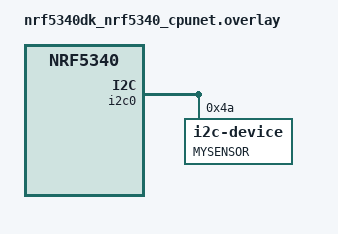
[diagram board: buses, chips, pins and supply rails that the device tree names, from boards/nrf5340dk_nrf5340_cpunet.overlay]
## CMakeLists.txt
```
# Copyright (c) 2021 Nordic Semiconductor ASA
#
# SPDX-License-Identifier: Apache-2.0
#

cmake_minimum_required(VERSION 3.20.0)

find_package(Zephyr REQUIRED HINTS $ENV{ZEPHYR_BASE})

if(CONFIG_BOARD_NRF5340DK_NRF5340_CPUNET OR
   CONFIG_BOARD_NRF5340BSIM_NRF5340_CPUNET)
  message(INFO " ${BOARD}${BOARD_QUALIFIERS} used for Network Core")
else()
  message(FATAL_ERROR "${BOARD}${BOARD_QUALIFIERS} is not supported for this sample")
endif()

project(sync_rtc_net)

target_sources(app PRIVATE src/main.c)
```

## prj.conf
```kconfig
CONFIG_LOG=y
CONFIG_NRF53_SYNC_RTC=y
CONFIG_MBOX=y

CONFIG_IPM=n
CONFIG_I2C=y

CONFIG_USE_SEGGER_RTT=y
CONFIG_LOG_BACKEND_RTT=y
```

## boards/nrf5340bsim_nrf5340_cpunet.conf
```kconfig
CONFIG_BUILD_OUTPUT_EXE=n
```

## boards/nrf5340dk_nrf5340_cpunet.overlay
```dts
&uart0 {
    status="disabled";
};

&i2c0 {
    compatible = "nordic,nrf-twim";
	status = "okay";
    mysensor: mysensor@4a{
        compatible = "i2c-device";
        reg = < 0x4a >;
        label = "MYSENSOR";
    };
};
```

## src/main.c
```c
/*
 * Copyright (c) 2021 Nordic Semiconductor ASA
 *
 * SPDX-License-Identifier: Apache-2.0
 */

#include <zephyr/kernel.h>
#include <zephyr/drivers/mbox.h>
#include <hal/nrf_ipc.h>
#include <zephyr/drivers/ipm.h>
#include <zephyr/sys/printk.h>
#include <zephyr/drivers/timer/nrf_rtc_timer.h>
#include <zephyr/logging/log.h>

#include <zephyr/drivers/i2c.h>

LOG_MODULE_REGISTER(net);

#if (CONFIG_SOC_SERIES_BSIM_NRFXX)
extern uint32_t shared_cell_buffer;
static uint32_t shared_cell = (uintptr_t)&shared_cell_buffer;
#else
static uint32_t shared_cell = 0x20070000;
static uint32_t other_cell = 0x20070001;
static uint32_t fromnet_cell = 0x20070002;
#endif

#define I2C0_NODE DT_NODELABEL(mysensor)

static void sync_callback(void)
{
	int32_t offset = z_nrf_rtc_timer_nrf53net_offset_get();

	__ASSERT(offset >= 0, "Synchronization should be completed");

	uint32_t timestamp = sys_clock_tick_get_32() + offset;
	uint32_t app_timestamp = *(volatile uint32_t *)shared_cell;

	LOG_INF("Local timestamp: %u, application core timestamp: %u",
			timestamp, app_timestamp);
}

static void mbox_callback(const struct device *dev, uint32_t channel,
						  void *user_data, struct mbox_msg *data)
{
	sync_callback();
}

static void other_mbox_callback(const struct device *dev, uint32_t channel,
								void *user_data, struct mbox_msg *data)
{
	LOG_INF("received data from appcore, size %d on channel %d", data->size, channel);
	LOG_INF("msg: %x", *(volatile uint32_t *)other_cell);
}

static int mbox_init(void)
{
	const struct device *dev;
	int err;

	dev = COND_CODE_1(CONFIG_MBOX, (DEVICE_DT_GET(DT_NODELABEL(mbox))), (NULL));
	if (dev == NULL)
	{
		return -ENODEV;
	}

	err = mbox_register_callback(dev, 2, mbox_callback, NULL);
	if (err < 0)
	{
		return err;
	}

	return mbox_set_enabled(dev, 2, true);
}

static int other_mbox_init(void)
{
	const struct device *dev;
	int err;

	dev = COND_CODE_1(CONFIG_MBOX, (DEVICE_DT_GET(DT_NODELABEL(mbox))), (NULL));
	if (dev == NULL)
	{
		return -ENODEV;
	}

	err = mbox_register_callback(dev, 4, other_mbox_callback, NULL);
	if (err < 0)
	{
		return err;
	}

	return mbox_set_enabled(dev, 4, true);
}

int main(void)
{
	int err;
	uint32_t msg = 0xBADF00D;

	LOG_INF("Synchronization using mbox driver");
	err = mbox_init();
	if (err < 0)
	{
		LOG_ERR("Failed to initialize sync RTC listener (err:%d)", err);
	}
	err = other_mbox_init();
	if (err < 0)
	{
		LOG_ERR("Failed to initialize net deadbeef listener (err:%d)", err);
	}

	// i2c inits
	static const struct i2c_dt_spec dev_i2c = I2C_DT_SPEC_GET(I2C0_NODE);
	if (!device_is_ready(dev_i2c.bus))
	{
		LOG_ERR("I2C bus %s is not ready!", dev_i2c.bus->name);
		return -1;
	}
	else
	{
		LOG_INF("i2c bus %s ready!", dev_i2c.bus->name);
	}

	while (1)
	{
		LOG_INF("Netcore task, i2c device ready");
		k_sleep(K_MSEC(1000));
		//bother the appcore with some arbitrary data on another another channel
		// bother the netcore with some arbtirary data on another channel
		nrf_ipc_task_t task = offsetof(NRF_IPC_Type, TASKS_SEND[6]);
		
		*(volatile uint32_t *)fromnet_cell = msg;
		nrf_ipc_task_trigger(NRF_IPC, task);
		LOG_INF("IPC send %x", msg);
		msg++;
	}

	return 0;
}
```
